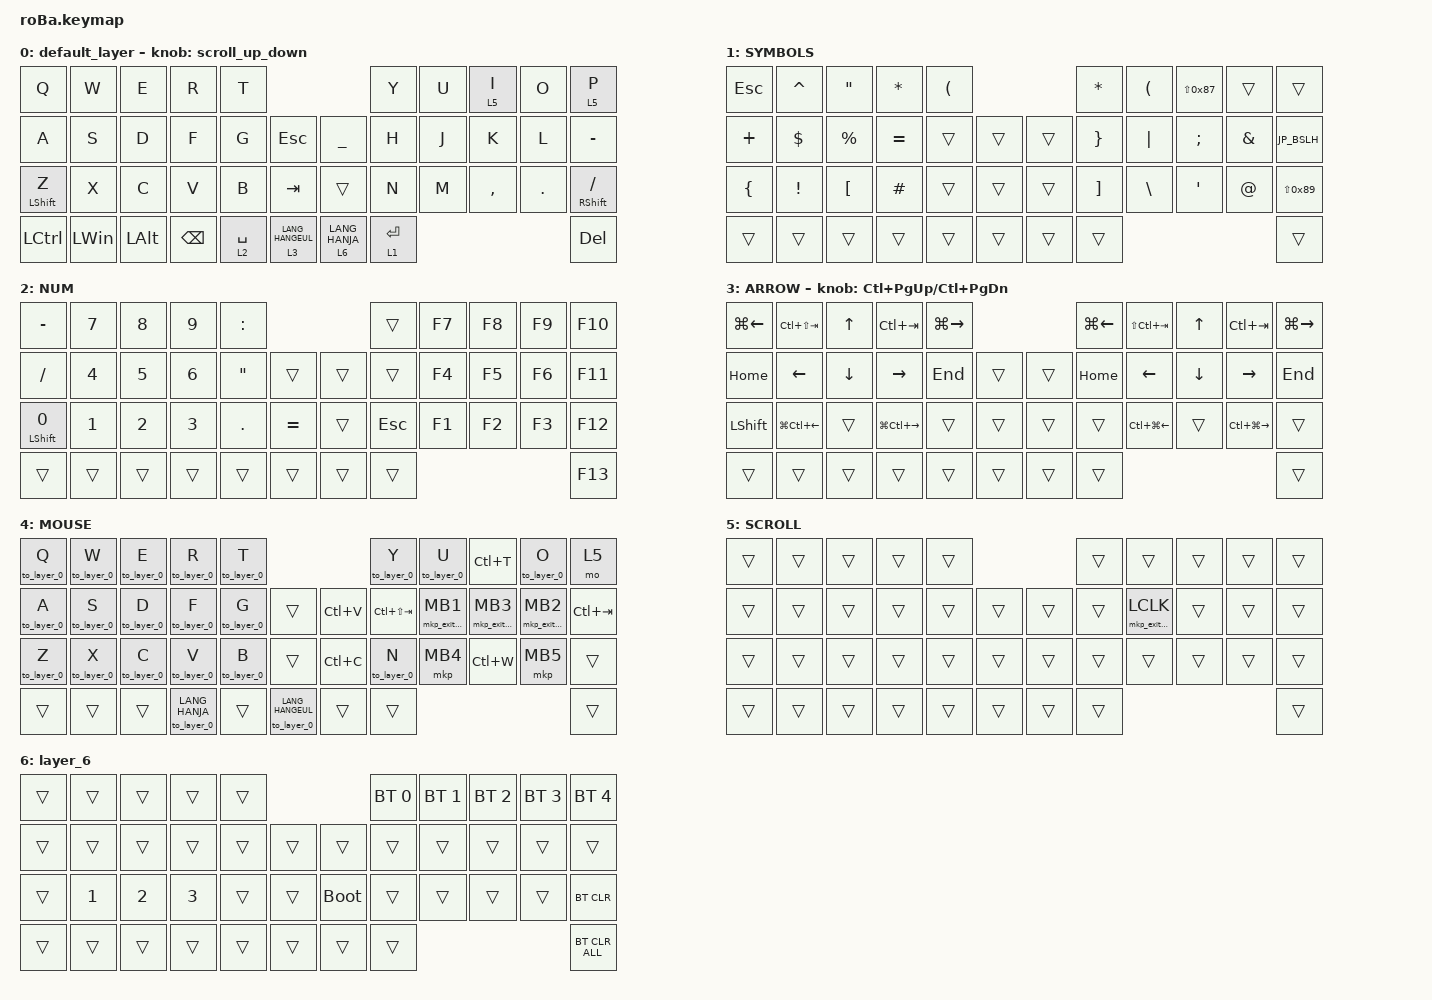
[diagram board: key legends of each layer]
#include <behaviors.dtsi>
#include <dt-bindings/zmk/bt.h>
#include <dt-bindings/zmk/keys.h>
#include <dt-bindings/zmk/pointing.h>

#define ZMK_POINTING_DEFAULT_SCRL_VAL 100
#define MOUSE 4
#define SCROLL 5
#define NUM 6

// OS設定を日本語キーボードのまま使用するための変換定義
#define JP_DQUOTE       AT                // "
#define JP_AMPERSAND    CARET             // &
#define JP_QUOTE        AMPERSAND         // '
#define JP_EQUAL        LS(EQUAL)         // =
#define JP_CARET        EQUAL             // ^
#define JP_YEN          0x89              // ¥
#define JP_PLUS         COLON             // +
#define JP_TILDE        PLUS              // ~
#define JP_PIPE         LS(0x89)          // |
#define JP_BSLH         0x87              // \
#define JP_AT           LBKT              // @
#define JP_COLON        SINGLE_QUOTE      // :
#define JP_ASTERISK     DOUBLE_QUOTES     // *
#define JP_BACKQUOTE    LEFT_BRACE        // `
#define JP_UNDERSCORE   LS(0x87)          // _
#define JP_LBRACKET     RIGHT_BRACKET     // [
#define JP_RBRACKET     BACKSLASH         // ]
#define JP_LPAREN       ASTERISK          // (
#define JP_RPAREN       LEFT_PARENTHESIS  // )
#define JP_LBRACE       RIGHT_BRACE       // {
#define JP_RBRACE       PIPE              // }
#define JP_KANA         LANGUAGE_1        // かな
#define JP_EISU         LANGUAGE_2        // 英数
#define JP_HANZEN       GRAVE             // 半角/全角

&mt {
    flavor = "hold-preferred";
    quick-tap-ms = <0>;
};

&sl { release-after-ms = <250>; };

/ {
    combos {
        compatible = "zmk,combos";

        BT0 {
            bindings = <&bt BT_SEL 0>;
            key-positions = <28>;
        };

        BT1 {
            bindings = <&bt BT_SEL 1>;
            key-positions = <28 23>;
        };

        BT2 {
            bindings = <&bt BT_SEL 2>;
            key-positions = <28 24>;
        };

        BT3 {
            bindings = <&none>;
            key-positions = <28 25>;
        };
    };
    macros {
        to_layer_0: to_layer_0 {
            compatible = "zmk,behavior-macro-one-param";
            #binding-cells = <1>;
            bindings = <&to 0 &macro_param_1to1 &kp MACRO_PLACEHOLDER>;
            label = "TO_LAYER_0";
        };

        mkp_exit_AML: mkp_exit_AML {
            compatible = "zmk,behavior-macro-one-param";
            #binding-cells = <1>;
            bindings =
                <&macro_press>,
                <&macro_param_1to1 &mkp MACRO_PLACEHOLDER>,
                <&macro_pause_for_release>,
                <&macro_release>,
                <&macro_param_1to1 &mkp MACRO_PLACEHOLDER>,
                <&macro_tap>,
                <&sl 4>;

            label = "MKP_EXIT_AML";
        };

        parenthesis: parenthesis {
            compatible = "zmk,behavior-macro";
            #binding-cells = <0>;
            bindings = <&kp LANG_HANJA &kp LEFT_PARENTHESIS &kp RIGHT_PARENTHESIS &kp LEFT_ARROW>;
            label = "parenthesis";
        };
    };

    behaviors {
        scroll_up_down: behavior_sensor_rotate_mouse_wheel_up_down {
            compatible = "zmk,behavior-sensor-rotate";
            #sensor-binding-cells = <0>;
            bindings = <&msc SCRL_DOWN>, <&msc SCRL_UP>;

            // 追加: スクロールのタップ時間を設定 (20ms)

            tap-ms = <20>;
        };

        multi_tap_tab_bspc: behavior_multi_tap {
            label = "MT_TAB_BSPC";
            #binding-cells = <0>;
            bindings = <&kp TAB>, <&kp BSPC>;

            max-taps = <2>;
            max-tap-interrupt-ms = <250>;
        };
    };

    keymap {
        compatible = "zmk,keymap";

        default_layer {
            bindings = <
&kp Q             &kp W         &kp E         &kp R             &kp T                                                &kp Y        &kp U  &lt 5 I    &kp O    &lt 5 P
&kp A             &kp S         &kp D         &kp F             &kp G        &kp ESCAPE              &kp UNDERSCORE   &kp H        &kp J  &kp K      &kp L    &kp MINUS
&mt LEFT_SHIFT Z  &kp X         &kp C         &kp V             &kp B        &kp TAB                 &trans   &kp N        &kp M  &kp COMMA  &kp DOT  &mt RIGHT_SHIFT SLASH
&kp LCTRL         &kp LEFT_WIN  &kp LEFT_ALT  &kp BACKSPACE  &lt 2 SPACE  &lt 3 LANG_HANGEUL      &lt 6 LANG_HANJA  &lt 1 ENTER                             &kp DEL
            >;

            sensor-bindings = <&scroll_up_down>;
        };

        SYMBOLS {
            bindings = <
&kp ESCAPE        &kp JP_AMPERSAND &kp JP_ASTERISK &kp JP_LPAREN         &kp JP_RPAREN                      &kp JP_LPAREN        &kp JP_RPAREN        &kp JP_UNDERSCORE  &trans         &trans
&kp JP_TILDE      &kp DOLLAR       &kp PERCENT     &kp JP_CARET          &trans                 &trans      &trans  &kp JP_LBRACE        &kp JP_RBRACE        &kp SEMICOLON   &kp JP_QUOTE   &kp JP_BSLH
&kp JP_BACKQUOTE  &kp EXCLAMATION  &kp LBKT       &kp HASH              &trans                 &trans      &trans  &kp JP_LBRACKET      &kp JP_RBRACKET      &kp JP_COLON    &kp JP_DQUOTE  &kp JP_PIPE
&trans            &trans           &trans          &trans                &trans                 &trans      &trans  &trans                                                                  &trans
            >;
        };

        NUM {
            bindings = <
&kp MINUS                   &kp NUMBER_7  &kp NUMBER_8  &kp NUMBER_9  &kp JP_PLUS                                           &trans      &kp F7  &kp F8  &kp F9  &kp F10
&kp SLASH                   &kp NUMBER_4  &kp NUMBER_5  &kp NUMBER_6  &kp JP_ASTERISK  &trans     &trans  &trans      &kp F4  &kp F5  &kp F6  &kp F11
&mt LEFT_SHIFT NUMBER_0  &kp NUMBER_1  &kp NUMBER_2  &kp NUMBER_3  &kp PERIOD    &kp EQUAL                    &trans  &kp ESCAPE  &kp F1  &kp F2  &kp F3  &kp F12
&trans                      &trans           &trans           &trans           &trans        &trans                       &trans  &trans                              &kp F13
            >;
        };

        ARROW {
            bindings = <
&kp LG(LEFT_ARROW)  &kp LC(LS(TAB))         &kp UP_ARROW    &kp LC(TAB)              &kp LG(RIGHT_ARROW)                      &kp LG(LEFT_ARROW)  &kp LS(LC(TAB))         &kp UP_ARROW    &kp LC(TAB)              &kp LG(RIGHT_ARROW)
&kp HOME            &kp LEFT_ARROW          &kp DOWN_ARROW  &kp RIGHT_ARROW          &kp END              &trans      &trans  &kp HOME            &kp LEFT_ARROW          &kp DOWN_ARROW  &kp RIGHT_ARROW          &kp END
&kp LEFT_SHIFT      &kp LG(LC(LEFT_ARROW))  &trans          &kp LG(LC(RIGHT_ARROW))  &trans               &trans      &trans  &trans              &kp LC(LG(LEFT_ARROW))  &trans          &kp LC(LG(RIGHT_ARROW))  &trans
&trans              &trans                  &trans          &trans                   &trans               &trans      &trans  &trans                                                                               &trans
            >;

            sensor-bindings = <&inc_dec_kp LC(PAGE_UP) LC(PAGE_DOWN)>;
        };

        MOUSE {
            bindings = <
&to_layer_0 Q  &to_layer_0 W  &to_layer_0 E  &to_layer_0 R           &to_layer_0 T                                           &to_layer_0 Y    &to_layer_0 U      &kp LC(T)          &to_layer_0 O      &mo 5
&to_layer_0 A  &to_layer_0 S  &to_layer_0 D  &to_layer_0 F           &to_layer_0 G  &trans                        &kp LC(V)  &kp LC(LS(TAB))  &mkp_exit_AML MB1  &mkp_exit_AML MB3  &mkp_exit_AML MB2  &kp LC(TAB)
&to_layer_0 Z  &to_layer_0 X  &to_layer_0 C  &to_layer_0 V           &to_layer_0 B  &trans                        &kp LC(C)  &to_layer_0 N    &mkp MB4           &kp LC(W)          &mkp MB5           &trans
&trans         &trans         &trans         &to_layer_0 LANG_HANJA  &trans         &to_layer_0 LANG_HANGEUL      &trans     &trans                                                                    &trans
            >;
        };

        SCROLL {
            bindings = <
&trans  &trans  &trans  &trans  &trans                      &trans  &trans              &trans  &trans  &trans
&trans  &trans  &trans  &trans  &trans  &trans      &trans  &trans  &mkp_exit_AML LCLK  &trans  &trans  &trans
&trans  &trans  &trans  &trans  &trans  &trans      &trans  &trans  &trans              &trans  &trans  &trans
&trans  &trans  &trans  &trans  &trans  &trans      &trans  &trans                                      &trans
            >;
        };

        layer_6 {
            bindings = <
&trans  &trans        &trans        &trans        &trans                           &bt BT_SEL 0  &bt BT_SEL 1  &bt BT_SEL 2  &bt BT_SEL 3  &bt BT_SEL 4
&trans  &trans        &trans        &trans        &trans  &trans      &trans       &trans        &trans        &trans        &trans        &trans
&trans  &kp NUMBER_1  &kp NUMBER_2  &kp NUMBER_3  &trans  &trans      &bootloader  &trans        &trans        &trans        &trans        &bt BT_CLR
&trans  &trans        &trans        &trans        &trans  &trans      &trans       &trans                                                  &bt BT_CLR_ALL
            >;
        };
    };
};
